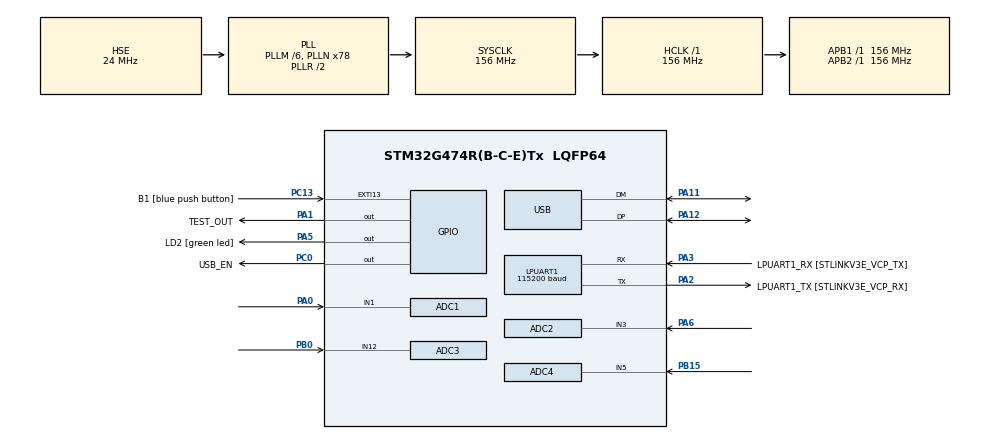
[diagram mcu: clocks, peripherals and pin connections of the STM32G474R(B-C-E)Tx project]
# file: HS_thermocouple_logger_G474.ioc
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ADC1.Channel-5\#ChannelRegularConversion=ADC_CHANNEL_1
ADC1.ClockPrescaler=ADC_CLOCK_ASYNC_DIV1
ADC1.ContinuousConvMode=DISABLE
ADC1.DMAContinuousRequests=ENABLE
ADC1.EOCSelection=ADC_EOC_SINGLE_CONV
ADC1.EnableRegularConversion=ENABLE
ADC1.ExternalTrigConv=ADC_EXTERNALTRIG_T2_TRGO
ADC1.NbrOfConversionFlag=1
ADC1.OffsetNumber-5\#ChannelRegularConversion=ADC_OFFSET_NONE
ADC1.Overrun=ADC_OVR_DATA_PRESERVED
ADC1.OversamplingMode=ENABLE
ADC1.Rank-5\#ChannelRegularConversion=1
ADC1.Ratio=ADC_OVERSAMPLING_RATIO_32
ADC1.RightBitShift=ADC_RIGHTBITSHIFT_1
ADC1.SamplingTime-5\#ChannelRegularConversion=ADC_SAMPLETIME_2CYCLES_5
ADC1.master=1
ADC2.Channel-0\#ChannelRegularConversion=ADC_CHANNEL_3
ADC2.ClockPrescaler=ADC_CLOCK_ASYNC_DIV1
ADC2.NbrOfConversionFlag=1
ADC2.OffsetNumber-0\#ChannelRegularConversion=ADC_OFFSET_NONE
ADC2.Rank-0\#ChannelRegularConversion=1
ADC2.SamplingTime-0\#ChannelRegularConversion=ADC_SAMPLETIME_2CYCLES_5
ADC3.Channel-0\#ChannelRegularConversion=ADC_CHANNEL_12
ADC3.NbrOfConversionFlag=1
ADC3.OffsetNumber-0\#ChannelRegularConversion=ADC_OFFSET_NONE
ADC3.Rank-0\#ChannelRegularConversion=1
ADC3.SamplingTime-0\#ChannelRegularConversion=ADC_SAMPLETIME_2CYCLES_5
ADC3.master=1
ADC4.Channel-0\#ChannelRegularConversion=ADC_CHANNEL_5
ADC4.NbrOfConversionFlag=1
ADC4.OffsetNumber-0\#ChannelRegularConversion=ADC_OFFSET_NONE
ADC4.Rank-0\#ChannelRegularConversion=1
ADC4.SamplingTime-0\#ChannelRegularConversion=ADC_SAMPLETIME_2CYCLES_5
Dma.ADC1.0.Direction=DMA_PERIPH_TO_MEMORY
Dma.ADC1.0.EventEnable=DISABLE
Dma.ADC1.0.Instance=DMA1_Channel1
Dma.ADC1.0.MemDataAlignment=DMA_MDATAALIGN_HALFWORD
Dma.ADC1.0.MemInc=DMA_MINC_ENABLE
Dma.ADC1.0.Mode=DMA_CIRCULAR
Dma.ADC1.0.PeriphDataAlignment=DMA_PDATAALIGN_HALFWORD
Dma.ADC1.0.PeriphInc=DMA_PINC_DISABLE
Dma.ADC1.0.Polarity=HAL_DMAMUX_REQ_GEN_RISING
Dma.ADC1.0.Priority=DMA_PRIORITY_HIGH
Dma.ADC1.0.RequestNumber=1
Dma.ADC1.0.SignalID=NONE
Dma.ADC1.0.SyncEnable=DISABLE
Dma.ADC1.0.SyncPolarity=HAL_DMAMUX_SYNC_NO_EVENT
Dma.ADC1.0.SyncRequestNumber=1
Dma.ADC1.0.SyncSignalID=NONE
Dma.Request0=ADC1
LPUART1.BaudRate=115200
LPUART1.WordLength=UART_WORDLENGTH_8B
Mcu.Family=STM32G4
Mcu.Name=STM32G474R(B-C-E)Tx
Mcu.Package=LQFP64
NVIC.DMA1_Channel1_IRQn=true\:0\:0\:false\:false\:true\:false\:true\:true
NVIC.EXTI15_10_IRQn=true\:0\:0\:false\:false\:true\:true\:true\:true
NVIC.PriorityGroup=NVIC_PRIORITYGROUP_4
NVIC.TIM2_IRQn=true\:0\:0\:false\:false\:true\:true\:true\:true
NVIC.USB_HP_IRQn=true\:0\:0\:false\:false\:true\:true\:true\:true
NVIC.USB_LP_IRQn=true\:0\:0\:false\:false\:true\:false\:true\:true
PA0.Mode=IN1-Single-Ended
PA0.Signal=ADC1_IN1
PA1.GPIO_Label=TEST_OUT
PA1.GPIO_Speed=GPIO_SPEED_FREQ_VERY_HIGH
PA1.Signal=GPIO_Output
PA11.Mode=Device
PA11.Signal=USB_DM
PA12.Mode=Device
PA12.Signal=USB_DP
PA13.GPIO_Label=T_SWDIO
PA13.Mode=Serial_Wire
PA13.Signal=SYS_JTMS-SWDIO
PA14.GPIO_Label=T_SWCLK
PA14.Mode=Serial_Wire
PA14.Signal=SYS_JTCK-SWCLK
PA2.GPIO_Label=LPUART1_TX [STLINKV3E_VCP_RX]
PA2.Mode=Asynchronous
PA2.Signal=LPUART1_TX
PA3.GPIO_Label=LPUART1_RX [STLINKV3E_VCP_TX]
PA3.Mode=Asynchronous
PA3.Signal=LPUART1_RX
PA5.GPIO_Label=LD2 [green led]
PA5.Signal=GPIO_Output
PA6.Mode=IN3-Single-Ended
PA6.Signal=ADC2_IN3
PB0.Mode=IN12-Single-Ended
PB0.Signal=ADC3_IN12
PB15.Mode=IN5-Single-Ended
PB15.Signal=ADC4_IN5
PB3.GPIO_Label=T_SWO
PB3.Signal=SYS_JTDO-SWO
PC0.GPIO_Label=USB_EN
PC0.Signal=GPIO_Output
PC13.GPIO_Label=B1 [blue push button]
PC13.Signal=GPXTI13
PC14-OSC32_IN.Mode=LSE-External-Oscillator
PC14-OSC32_IN.Signal=RCC_OSC32_IN
PC15-OSC32_OUT.Mode=LSE-External-Oscillator
PC15-OSC32_OUT.Signal=RCC_OSC32_OUT
PF0-OSC_IN.Mode=HSE-External-Oscillator
PF0-OSC_IN.Signal=RCC_OSC_IN
PF1-OSC_OUT.Mode=HSE-External-Oscillator
PF1-OSC_OUT.Signal=RCC_OSC_OUT
ProjectManager.HeapSize=0x1000
ProjectManager.StackSize=0x1000
ProjectManager.TargetToolchain=STM32CubeIDE
RCC.ADC12CLockSelection=RCC_ADC12CLKSOURCE_PLL
RCC.ADC12Freq_Value=52000000
RCC.ADC345CLockSelection=RCC_ADC345CLKSOURCE_PLL
RCC.ADC345Freq_Value=52000000
RCC.AHBFreq_Value=156000000
RCC.APB1Freq_Value=156000000
RCC.APB1TimFreq_Value=156000000
RCC.APB2Freq_Value=156000000
RCC.APB2TimFreq_Value=156000000
RCC.CK48CLockSelection=RCC_USBCLKSOURCE_HSI48
RCC.CortexFreq_Value=156000000
RCC.EXTERNAL_CLOCK_VALUE=12288000
RCC.HCLKFreq_Value=156000000
RCC.HSE_VALUE=24000000
RCC.HSI48_VALUE=48000000
RCC.HSI_VALUE=16000000
RCC.PLLM=RCC_PLLM_DIV6
RCC.PLLN=78
RCC.PLLP=RCC_PLLP_DIV6
RCC.PLLSourceVirtual=RCC_PLLSOURCE_HSE
RCC.RTCClockSelection=RCC_RTCCLKSOURCE_LSE
RCC.SYSCLKFreq_VALUE=156000000
RCC.SYSCLKSource=RCC_SYSCLKSOURCE_PLLCLK
RCC.USBFreq_Value=48000000
RCC.VCOOutputFreq_Value=312000000
TIM2.AutoReloadPreload=TIM_AUTORELOAD_PRELOAD_ENABLE
TIM2.Dithering=Disable
TIM2.PeriodNoDither=10 - 1
TIM2.Prescaler=156 - 1
TIM2.TIM_MasterOutputTrigger=TIM_TRGO_UPDATE
USB_DEVICE.CLASS_NAME_FS=CDC
USB_DEVICE.VirtualMode=Cdc
USB_DEVICE.VirtualModeFS=Cdc_FS
VP_SYS_VS_DBSignals.Mode=DisableDeadBatterySignals
VP_TIM2_VS_ClockSourceINT.Mode=Internal
VP_TIM2_VS_ClockSourceITR.Mode=TriggerSource_ITR0
VP_USB_DEVICE_VS_USB_DEVICE_CDC_FS.Mode=CDC_FS
board=NUCLEO-G474RE

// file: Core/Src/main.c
/* USER CODE BEGIN Header */
/**
  ******************************************************************************
  * @file           : main.c
  * @brief          : Main program body
  ******************************************************************************
  * @attention
  *
  * Copyright (c) 2024 STMicroelectronics.
  * All rights reserved.
  *
  * This software is licensed under terms that can be found in the LICENSE file
  * in the root directory of this software component.
  * If no LICENSE file comes with this software, it is provided AS-IS.
  *
  ******************************************************************************
  */
/* USER CODE END Header */
#include "main.h"
#include "usb_device.h"

/* USER CODE BEGIN Includes */
#include "usbd_cdc_if.h"
/* USER CODE END Includes */

/* USER CODE BEGIN PD */
#define ADC_BUFFER_SIZE 5000				// uint16
#define USB_BUFFER_SIZE ADC_BUFFER_SIZE*2 	// uint8
/* USER CODE END PD */

ADC_HandleTypeDef hadc1;
ADC_HandleTypeDef hadc2;
ADC_HandleTypeDef hadc3;
ADC_HandleTypeDef hadc4;
DMA_HandleTypeDef hdma_adc1;

UART_HandleTypeDef hlpuart1;

TIM_HandleTypeDef htim2;

/* USER CODE BEGIN PV */
uint16_t adc_buffer[ADC_BUFFER_SIZE];
volatile int adc_conv_complete = 0;
/* USER CODE END PV */

void SystemClock_Config(void);
static void MX_GPIO_Init(void);
static void MX_DMA_Init(void);
static void MX_LPUART1_UART_Init(void);
static void MX_ADC1_Init(void);
static void MX_ADC2_Init(void);
static void MX_ADC3_Init(void);
static void MX_ADC4_Init(void);
static void MX_TIM2_Init(void);

int main(void)
{

  /* MCU Configuration--------------------------------------------------------*/

  /* Reset of all peripherals, Initializes the Flash interface and the Systick. */
  HAL_Init();

  /* Configure the system clock */
  SystemClock_Config();

  /* Initialize all configured peripherals */
  MX_GPIO_Init();
  MX_DMA_Init();
  MX_LPUART1_UART_Init();
  MX_ADC1_Init();
  MX_ADC2_Init();
  MX_ADC3_Init();
  MX_ADC4_Init();
  MX_TIM2_Init();
  MX_USB_Device_Init();
  /* USER CODE BEGIN 2 */
  HAL_TIM_Base_Start_IT(&htim2);
  HAL_ADCEx_Calibration_Start(&hadc1, ADC_SINGLE_ENDED);
  HAL_ADC_Start_DMA(&hadc1, (uint32_t*)adc_buffer, ADC_BUFFER_SIZE);
  /* USER CODE END 2 */

  /* Infinite loop */
  /* USER CODE BEGIN WHILE */
  uint8_t transmit_buffer[USB_BUFFER_SIZE];
  while (1)
  {
    /* USER CODE END WHILE */

    /* USER CODE BEGIN 3 */
	if(adc_conv_complete){
		for(int i = 0; i < ADC_BUFFER_SIZE; i++){
			transmit_buffer[(i*2)+1] = (uint8_t)(adc_buffer[i] & 0x00FF);
			transmit_buffer[i*2] = (uint8_t)((adc_buffer[i] >> 8) & 0x00FF);
		}

		while(CDC_Transmit_FS(transmit_buffer, USB_BUFFER_SIZE) != USBD_OK);
		adc_conv_complete = 0;
	}

  }
  /* USER CODE END 3 */
}

void SystemClock_Config(void)
{
  RCC_OscInitTypeDef RCC_OscInitStruct = {0};
  RCC_ClkInitTypeDef RCC_ClkInitStruct = {0};

  /** Configure the main internal regulator output voltage
  */
  HAL_PWREx_ControlVoltageScaling(PWR_REGULATOR_VOLTAGE_SCALE1_BOOST);

  /** Initializes the RCC Oscillators according to the specified parameters
  * in the RCC_OscInitTypeDef structure.
  */
  RCC_OscInitStruct.OscillatorType = RCC_OSCILLATORTYPE_HSI48|RCC_OSCILLATORTYPE_HSE;
  RCC_OscInitStruct.HSEState = RCC_HSE_ON;
  RCC_OscInitStruct.HSI48State = RCC_HSI48_ON;
  RCC_OscInitStruct.PLL.PLLState = RCC_PLL_ON;
  RCC_OscInitStruct.PLL.PLLSource = RCC_PLLSOURCE_HSE;
  RCC_OscInitStruct.PLL.PLLM = RCC_PLLM_DIV6;
  RCC_OscInitStruct.PLL.PLLN = 78;
  RCC_OscInitStruct.PLL.PLLP = RCC_PLLP_DIV6;
  RCC_OscInitStruct.PLL.PLLQ = RCC_PLLQ_DIV2;
  RCC_OscInitStruct.PLL.PLLR = RCC_PLLR_DIV2;
  if (HAL_RCC_OscConfig(&RCC_OscInitStruct) != HAL_OK)
  {
    Error_Handler();
  }

  /** Initializes the CPU, AHB and APB buses clocks
  */
  RCC_ClkInitStruct.ClockType = RCC_CLOCKTYPE_HCLK|RCC_CLOCKTYPE_SYSCLK
                              |RCC_CLOCKTYPE_PCLK1|RCC_CLOCKTYPE_PCLK2;
  RCC_ClkInitStruct.SYSCLKSource = RCC_SYSCLKSOURCE_PLLCLK;
  RCC_ClkInitStruct.AHBCLKDivider = RCC_SYSCLK_DIV1;
  RCC_ClkInitStruct.APB1CLKDivider = RCC_HCLK_DIV1;
  RCC_ClkInitStruct.APB2CLKDivider = RCC_HCLK_DIV1;

  if (HAL_RCC_ClockConfig(&RCC_ClkInitStruct, FLASH_LATENCY_4) != HAL_OK)
  {
    Error_Handler();
  }
}

static void MX_ADC1_Init(void)
{

  ADC_MultiModeTypeDef multimode = {0};
  ADC_ChannelConfTypeDef sConfig = {0};

  /** Common config
  */
  hadc1.Instance = ADC1;
  hadc1.Init.ClockPrescaler = ADC_CLOCK_ASYNC_DIV1;
  hadc1.Init.Resolution = ADC_RESOLUTION_12B;
  hadc1.Init.DataAlign = ADC_DATAALIGN_RIGHT;
  hadc1.Init.GainCompensation = 0;
  hadc1.Init.ScanConvMode = ADC_SCAN_DISABLE;
  hadc1.Init.EOCSelection = ADC_EOC_SINGLE_CONV;
  hadc1.Init.LowPowerAutoWait = DISABLE;
  hadc1.Init.ContinuousConvMode = DISABLE;
  hadc1.Init.NbrOfConversion = 1;
  hadc1.Init.DiscontinuousConvMode = DISABLE;
  hadc1.Init.ExternalTrigConv = ADC_EXTERNALTRIG_T2_TRGO;
  hadc1.Init.ExternalTrigConvEdge = ADC_EXTERNALTRIGCONVEDGE_RISING;
  hadc1.Init.DMAContinuousRequests = ENABLE;
  hadc1.Init.Overrun = ADC_OVR_DATA_PRESERVED;
  hadc1.Init.OversamplingMode = ENABLE;
  hadc1.Init.Oversampling.Ratio = ADC_OVERSAMPLING_RATIO_32;
  hadc1.Init.Oversampling.RightBitShift = ADC_RIGHTBITSHIFT_1;
  hadc1.Init.Oversampling.TriggeredMode = ADC_TRIGGEREDMODE_SINGLE_TRIGGER;
  hadc1.Init.Oversampling.OversamplingStopReset = ADC_REGOVERSAMPLING_CONTINUED_MODE;
  if (HAL_ADC_Init(&hadc1) != HAL_OK)
  {
    Error_Handler();
  }

  /** Configure the ADC multi-mode
  */
  multimode.Mode = ADC_MODE_INDEPENDENT;
  if (HAL_ADCEx_MultiModeConfigChannel(&hadc1, &multimode) != HAL_OK)
  {
    Error_Handler();
  }

  /** Configure Regular Channel
  */
  sConfig.Channel = ADC_CHANNEL_1;
  sConfig.Rank = ADC_REGULAR_RANK_1;
  sConfig.SamplingTime = ADC_SAMPLETIME_2CYCLES_5;
  sConfig.SingleDiff = ADC_SINGLE_ENDED;
  sConfig.OffsetNumber = ADC_OFFSET_NONE;
  sConfig.Offset = 0;
  if (HAL_ADC_ConfigChannel(&hadc1, &sConfig) != HAL_OK)
  {
    Error_Handler();
  }

}

static void MX_ADC2_Init(void)
{

  ADC_ChannelConfTypeDef sConfig = {0};

  /** Common config
  */
  hadc2.Instance = ADC2;
  hadc2.Init.ClockPrescaler = ADC_CLOCK_ASYNC_DIV1;
  hadc2.Init.Resolution = ADC_RESOLUTION_12B;
  hadc2.Init.DataAlign = ADC_DATAALIGN_RIGHT;
  hadc2.Init.GainCompensation = 0;
  hadc2.Init.ScanConvMode = ADC_SCAN_DISABLE;
  hadc2.Init.EOCSelection = ADC_EOC_SINGLE_CONV;
  hadc2.Init.LowPowerAutoWait = DISABLE;
  hadc2.Init.ContinuousConvMode = DISABLE;
  hadc2.Init.NbrOfConversion = 1;
  hadc2.Init.DiscontinuousConvMode = DISABLE;
  hadc2.Init.ExternalTrigConv = ADC_SOFTWARE_START;
  hadc2.Init.ExternalTrigConvEdge = ADC_EXTERNALTRIGCONVEDGE_NONE;
  hadc2.Init.DMAContinuousRequests = DISABLE;
  hadc2.Init.Overrun = ADC_OVR_DATA_PRESERVED;
  hadc2.Init.OversamplingMode = DISABLE;
  if (HAL_ADC_Init(&hadc2) != HAL_OK)
  {
    Error_Handler();
  }

  /** Configure Regular Channel
  */
  sConfig.Channel = ADC_CHANNEL_3;
  sConfig.Rank = ADC_REGULAR_RANK_1;
  sConfig.SamplingTime = ADC_SAMPLETIME_2CYCLES_5;
  sConfig.SingleDiff = ADC_SINGLE_ENDED;
  sConfig.OffsetNumber = ADC_OFFSET_NONE;
  sConfig.Offset = 0;
  if (HAL_ADC_ConfigChannel(&hadc2, &sConfig) != HAL_OK)
  {
    Error_Handler();
  }

}

static void MX_ADC3_Init(void)
{

  ADC_MultiModeTypeDef multimode = {0};
  ADC_ChannelConfTypeDef sConfig = {0};

  /** Common config
  */
  hadc3.Instance = ADC3;
  hadc3.Init.ClockPrescaler = ADC_CLOCK_SYNC_PCLK_DIV4;
  hadc3.Init.Resolution = ADC_RESOLUTION_12B;
  hadc3.Init.DataAlign = ADC_DATAALIGN_RIGHT;
  hadc3.Init.GainCompensation = 0;
  hadc3.Init.ScanConvMode = ADC_SCAN_DISABLE;
  hadc3.Init.EOCSelection = ADC_EOC_SINGLE_CONV;
  hadc3.Init.LowPowerAutoWait = DISABLE;
  hadc3.Init.ContinuousConvMode = DISABLE;
  hadc3.Init.NbrOfConversion = 1;
  hadc3.Init.DiscontinuousConvMode = DISABLE;
  hadc3.Init.ExternalTrigConv = ADC_SOFTWARE_START;
  hadc3.Init.ExternalTrigConvEdge = ADC_EXTERNALTRIGCONVEDGE_NONE;
  hadc3.Init.DMAContinuousRequests = DISABLE;
  hadc3.Init.Overrun = ADC_OVR_DATA_PRESERVED;
  hadc3.Init.OversamplingMode = DISABLE;
  if (HAL_ADC_Init(&hadc3) != HAL_OK)
  {
    Error_Handler();
  }

  /** Configure the ADC multi-mode
  */
  multimode.Mode = ADC_MODE_INDEPENDENT;
  if (HAL_ADCEx_MultiModeConfigChannel(&hadc3, &multimode) != HAL_OK)
  {
    Error_Handler();
  }

  /** Configure Regular Channel
  */
  sConfig.Channel = ADC_CHANNEL_12;
  sConfig.Rank = ADC_REGULAR_RANK_1;
  sConfig.SamplingTime = ADC_SAMPLETIME_2CYCLES_5;
  sConfig.SingleDiff = ADC_SINGLE_ENDED;
  sConfig.OffsetNumber = ADC_OFFSET_NONE;
  sConfig.Offset = 0;
  if (HAL_ADC_ConfigChannel(&hadc3, &sConfig) != HAL_OK)
  {
    Error_Handler();
  }

}

static void MX_ADC4_Init(void)
{

  ADC_ChannelConfTypeDef sConfig = {0};

  /** Common config
  */
  hadc4.Instance = ADC4;
  hadc4.Init.ClockPrescaler = ADC_CLOCK_SYNC_PCLK_DIV4;
  hadc4.Init.Resolution = ADC_RESOLUTION_12B;
  hadc4.Init.DataAlign = ADC_DATAALIGN_RIGHT;
  hadc4.Init.GainCompensation = 0;
  hadc4.Init.ScanConvMode = ADC_SCAN_DISABLE;
  hadc4.Init.EOCSelection = ADC_EOC_SINGLE_CONV;
  hadc4.Init.LowPowerAutoWait = DISABLE;
  hadc4.Init.ContinuousConvMode = DISABLE;
  hadc4.Init.NbrOfConversion = 1;
  hadc4.Init.DiscontinuousConvMode = DISABLE;
  hadc4.Init.ExternalTrigConv = ADC_SOFTWARE_START;
  hadc4.Init.ExternalTrigConvEdge = ADC_EXTERNALTRIGCONVEDGE_NONE;
  hadc4.Init.DMAContinuousRequests = DISABLE;
  hadc4.Init.Overrun = ADC_OVR_DATA_PRESERVED;
  hadc4.Init.OversamplingMode = DISABLE;
  if (HAL_ADC_Init(&hadc4) != HAL_OK)
  {
    Error_Handler();
  }

  /** Configure Regular Channel
  */
  sConfig.Channel = ADC_CHANNEL_5;
  sConfig.Rank = ADC_REGULAR_RANK_1;
  sConfig.SamplingTime = ADC_SAMPLETIME_2CYCLES_5;
  sConfig.SingleDiff = ADC_SINGLE_ENDED;
  sConfig.OffsetNumber = ADC_OFFSET_NONE;
  sConfig.Offset = 0;
  if (HAL_ADC_ConfigChannel(&hadc4, &sConfig) != HAL_OK)
  {
    Error_Handler();
  }

}

static void MX_LPUART1_UART_Init(void)
{

  hlpuart1.Instance = LPUART1;
  hlpuart1.Init.BaudRate = 115200;
  hlpuart1.Init.WordLength = UART_WORDLENGTH_8B;
  hlpuart1.Init.StopBits = UART_STOPBITS_1;
  hlpuart1.Init.Parity = UART_PARITY_NONE;
  hlpuart1.Init.Mode = UART_MODE_TX_RX;
  hlpuart1.Init.HwFlowCtl = UART_HWCONTROL_NONE;
  hlpuart1.Init.OneBitSampling = UART_ONE_BIT_SAMPLE_DISABLE;
  hlpuart1.Init.ClockPrescaler = UART_PRESCALER_DIV1;
  hlpuart1.AdvancedInit.AdvFeatureInit = UART_ADVFEATURE_NO_INIT;
  if (HAL_UART_Init(&hlpuart1) != HAL_OK)
  {
    Error_Handler();
  }
  if (HAL_UARTEx_SetTxFifoThreshold(&hlpuart1, UART_TXFIFO_THRESHOLD_1_8) != HAL_OK)
  {
    Error_Handler();
  }
  if (HAL_UARTEx_SetRxFifoThreshold(&hlpuart1, UART_RXFIFO_THRESHOLD_1_8) != HAL_OK)
  {
    Error_Handler();
  }
  if (HAL_UARTEx_DisableFifoMode(&hlpuart1) != HAL_OK)
  {
    Error_Handler();
  }

}

static void MX_TIM2_Init(void)
{

  TIM_ClockConfigTypeDef sClockSourceConfig = {0};
  TIM_SlaveConfigTypeDef sSlaveConfig = {0};
  TIM_MasterConfigTypeDef sMasterConfig = {0};

  htim2.Instance = TIM2;
  htim2.Init.Prescaler = 156 - 1;
  htim2.Init.CounterMode = TIM_COUNTERMODE_UP;
  htim2.Init.Period = 9;
  htim2.Init.ClockDivision = TIM_CLOCKDIVISION_DIV1;
  htim2.Init.AutoReloadPreload = TIM_AUTORELOAD_PRELOAD_ENABLE;
  if (HAL_TIM_Base_Init(&htim2) != HAL_OK)
  {
    Error_Handler();
  }
  sClockSourceConfig.ClockSource = TIM_CLOCKSOURCE_INTERNAL;
  if (HAL_TIM_ConfigClockSource(&htim2, &sClockSourceConfig) != HAL_OK)
  {
    Error_Handler();
  }
  sSlaveConfig.SlaveMode = TIM_SLAVEMODE_DISABLE;
  sSlaveConfig.InputTrigger = TIM_TS_ITR0;
  if (HAL_TIM_SlaveConfigSynchro(&htim2, &sSlaveConfig) != HAL_OK)
  {
    Error_Handler();
  }
  sMasterConfig.MasterOutputTrigger = TIM_TRGO_UPDATE;
  sMasterConfig.MasterSlaveMode = TIM_MASTERSLAVEMODE_DISABLE;
  if (HAL_TIMEx_MasterConfigSynchronization(&htim2, &sMasterConfig) != HAL_OK)
  {
    Error_Handler();
  }

}

static void MX_DMA_Init(void)
{

  /* DMA controller clock enable */
  __HAL_RCC_DMAMUX1_CLK_ENABLE();
  __HAL_RCC_DMA1_CLK_ENABLE();

  /* DMA interrupt init */
  /* DMA1_Channel1_IRQn interrupt configuration */
  HAL_NVIC_SetPriority(DMA1_Channel1_IRQn, 0, 0);
  HAL_NVIC_EnableIRQ(DMA1_Channel1_IRQn);
  /* DMAMUX_OVR_IRQn interrupt configuration */
  HAL_NVIC_SetPriority(DMAMUX_OVR_IRQn, 0, 0);
  HAL_NVIC_EnableIRQ(DMAMUX_OVR_IRQn);

}

static void MX_GPIO_Init(void)
{
  GPIO_InitTypeDef GPIO_InitStruct = {0};

  /* GPIO Ports Clock Enable */
  __HAL_RCC_GPIOC_CLK_ENABLE();
  __HAL_RCC_GPIOF_CLK_ENABLE();
  __HAL_RCC_GPIOA_CLK_ENABLE();
  __HAL_RCC_GPIOB_CLK_ENABLE();

  /*Configure GPIO pin Output Level */
  HAL_GPIO_WritePin(USB_EN_GPIO_Port, USB_EN_Pin, GPIO_PIN_RESET);

  /*Configure GPIO pin Output Level */
  HAL_GPIO_WritePin(GPIOA, TEST_OUT_Pin|LD2_Pin, GPIO_PIN_RESET);

  /*Configure GPIO pin : B1_Pin */
  GPIO_InitStruct.Pin = B1_Pin;
  GPIO_InitStruct.Mode = GPIO_MODE_IT_RISING;
  GPIO_InitStruct.Pull = GPIO_NOPULL;
  HAL_GPIO_Init(B1_GPIO_Port, &GPIO_InitStruct);

  /*Configure GPIO pin : USB_EN_Pin */
  GPIO_InitStruct.Pin = USB_EN_Pin;
  GPIO_InitStruct.Mode = GPIO_MODE_OUTPUT_PP;
  GPIO_InitStruct.Pull = GPIO_NOPULL;
  GPIO_InitStruct.Speed = GPIO_SPEED_FREQ_LOW;
  HAL_GPIO_Init(USB_EN_GPIO_Port, &GPIO_InitStruct);

  /*Configure GPIO pin : TEST_OUT_Pin */
  GPIO_InitStruct.Pin = TEST_OUT_Pin;
  GPIO_InitStruct.Mode = GPIO_MODE_OUTPUT_PP;
  GPIO_InitStruct.Pull = GPIO_NOPULL;
  GPIO_InitStruct.Speed = GPIO_SPEED_FREQ_VERY_HIGH;
  HAL_GPIO_Init(TEST_OUT_GPIO_Port, &GPIO_InitStruct);

  /*Configure GPIO pin : LD2_Pin */
  GPIO_InitStruct.Pin = LD2_Pin;
  GPIO_InitStruct.Mode = GPIO_MODE_OUTPUT_PP;
  GPIO_InitStruct.Pull = GPIO_NOPULL;
  GPIO_InitStruct.Speed = GPIO_SPEED_FREQ_LOW;
  HAL_GPIO_Init(LD2_GPIO_Port, &GPIO_InitStruct);

  /* EXTI interrupt init*/
  HAL_NVIC_SetPriority(EXTI15_10_IRQn, 0, 0);
  HAL_NVIC_EnableIRQ(EXTI15_10_IRQn);

}

/* USER CODE BEGIN 4 */

void HAL_ADC_ConvCpltCallback(ADC_HandleTypeDef* hadc) {
	HAL_GPIO_TogglePin(TEST_OUT_GPIO_Port, TEST_OUT_Pin);

    adc_conv_complete = 1;
}

/* USER CODE END 4 */

void Error_Handler(void)
{
  __disable_irq();
  while (1)
  {
  }
}
